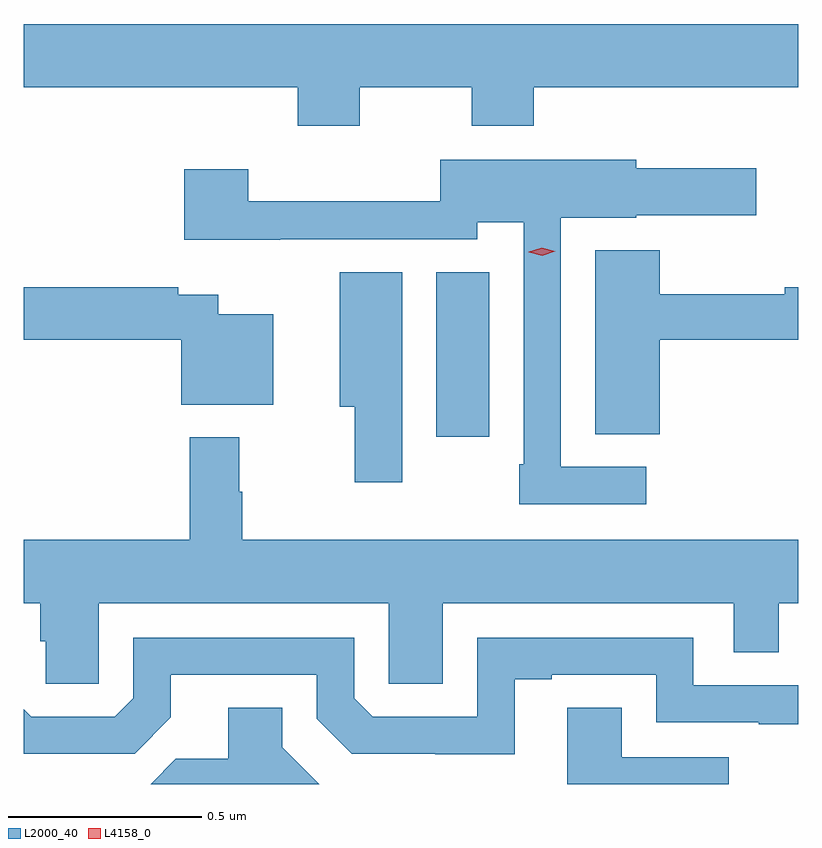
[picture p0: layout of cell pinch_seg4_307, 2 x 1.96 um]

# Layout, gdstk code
import gdstk
lib = gdstk.Library(unit=1e-6, precision=1e-09)
def R(c, l, rs):  # rectangles x0, y0, x1, y1
    for r in rs: c.add(gdstk.rectangle(r[:2], r[2:], *l))
def P(c, l, *ps):  # polygons
    for p in ps: c.add(gdstk.Polygon(p, *l))
L2000_40 = (2000, 40)
L4158_0 = (4158, 0)

pinch_seg4_307 = lib.new_cell('pinch_seg4_307')
R(pinch_seg4_307, L2000_40, [(949.898,805.242,950.035,805.667)])
P(pinch_seg4_307, L2000_40, [(949.701,806.144),(949.99,806.144),(949.99,806.045),(950.15,806.045),(950.15,806.144),(950.833,806.144),(950.833,806.308),(948.833,806.308),(948.833,806.144),(949.541,806.144),(949.541,806.045),(949.701,806.045)],
  [(950.44,805.164),(950.22,805.164),(950.22,805.808),(950.415,805.808),(950.415,805.814),(950.725,805.814),(950.725,805.936),(950.415,805.936),(950.415,805.957),(949.908,805.957),(949.908,805.85),(949.412,805.85),(949.412,805.933),(949.247,805.933),(949.247,805.751),(949.495,805.751),(949.495,805.752),(950.004,805.752),(950.004,805.796),(950.124,805.796),(950.124,805.171),(950.112,805.171),(950.112,805.068),(950.44,805.068)],
  [(950.476,805.492),(950.833,805.492),(950.833,805.628),(950.799,805.628),(950.799,805.61),(950.476,805.61),(950.476,805.723),(950.309,805.723),(950.309,805.249),(950.476,805.249)],
  [(949.81,805.667),(949.649,805.667),(949.649,805.319),(949.688,805.319),(949.688,805.125),(949.81,805.125)],
  [(949.477,805.558),(949.335,805.558),(949.335,805.609),(949.232,805.609),(949.232,805.628),(948.833,805.628),(948.833,805.492),(949.239,805.492),(949.239,805.325),(949.477,805.325)],
  [(949.776,804.604),(949.915,804.604),(949.915,804.812),(950.667,804.812),(950.667,804.685),(950.783,804.685),(950.783,804.812),(950.833,804.812),(950.833,804.976),(949.397,804.976),(949.397,805.1),(949.39,805.1),(949.39,805.24),(949.261,805.24),(949.261,804.976),(948.833,804.976),(948.833,804.812),(948.875,804.812),(948.875,804.714),(948.889,804.714),(948.889,804.604),(949.026,804.604),(949.026,804.812),(949.776,804.812)],
  [(950.101,804.615),(950.197,804.615),(950.197,804.627),(950.466,804.627),(950.466,804.504),(950.731,804.504),(950.731,804.499),(950.833,804.499),(950.833,804.6),(950.562,804.6),(950.562,804.723),(950.004,804.723),(950.004,804.519),(949.734,804.519),(949.686,804.567),(949.686,804.723),(949.116,804.723),(949.116,804.567),(949.068,804.519),(948.852,804.519),(948.833,804.538),(948.833,804.423),(949.119,804.423),(949.213,804.517),(949.213,804.627),(949.59,804.627),(949.59,804.513),(949.68,804.423),(949.896,804.423),(949.896,804.422),(950.101,804.422)],
  [(950.654,804.414),(950.377,804.414),(950.377,804.542),(950.237,804.542),(950.237,804.345),(950.654,804.345)],
  [(949.501,804.44),(949.501,804.542),(949.361,804.542),(949.361,804.41),(949.226,804.41),(949.161,804.345),(949.596,804.345)])
P(pinch_seg4_307, L4158_0, [(950.172,805.71),(950.137,805.719),(950.137,805.719),(950.137,805.72),(950.171,805.73),(950.206,805.721),(950.206,805.721),(950.206,805.721)])

lib.write_gds('pinch_seg4_307.gds')
